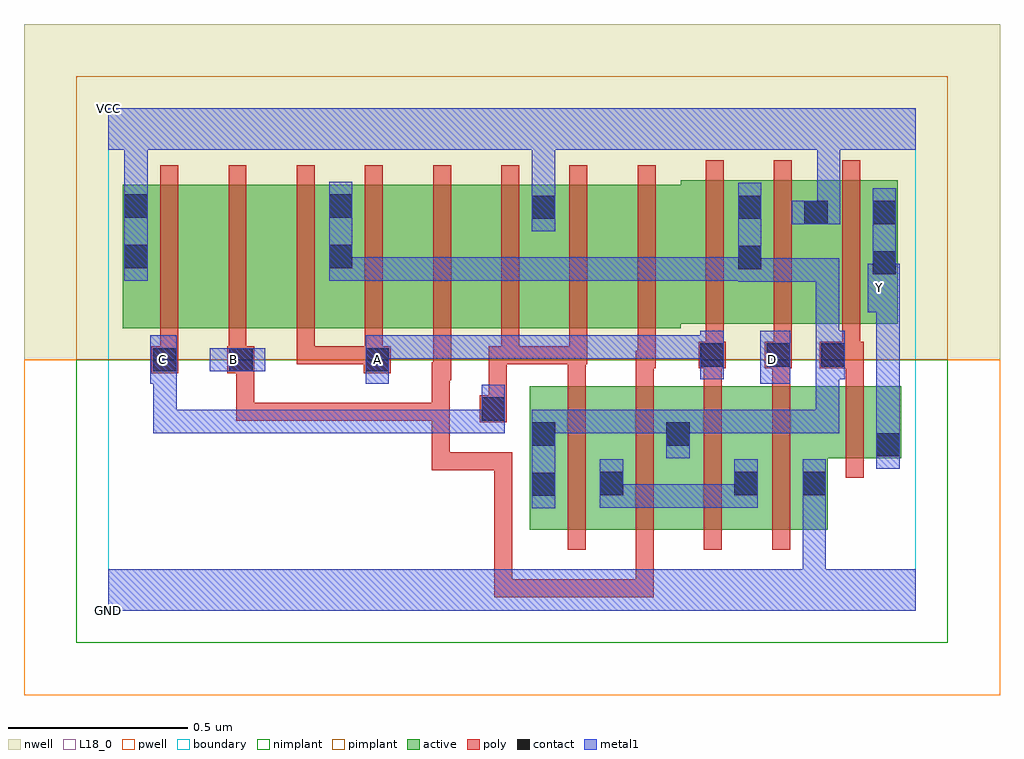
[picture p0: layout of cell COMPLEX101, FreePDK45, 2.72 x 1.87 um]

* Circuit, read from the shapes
.subckt COMPLEX101 A B C D GND VCC Y
M1 n1 C n2 VSUBS nfet w=0.4u l=0.05u
M2 n2 B n1 VSUBS nfet w=0.4u l=0.05u
M3 n1 A n2 VSUBS nfet w=0.4u l=0.05u
M4 GND D n1 VSUBS nfet w=0.4u l=0.05u
M5 Y n2 GND VSUBS nfet w=0.2u l=0.05u
M6 n3 C VCC n4 pfet w=0.4u l=0.05u
M7 n5 B n3 n4 pfet w=0.4u l=0.05u
M8 n2 A n5 n4 pfet w=0.4u l=0.05u
M9 n6 A n2 n4 pfet w=0.4u l=0.05u
M10 n7 B n6 n4 pfet w=0.4u l=0.05u
M11 VCC C n7 n4 pfet w=0.4u l=0.05u
M12 n8 C VCC n4 pfet w=0.4u l=0.05u
M13 n9 B n8 n4 pfet w=0.4u l=0.05u
M14 n2 A n9 n4 pfet w=0.4u l=0.05u
M15 VCC D n2 n4 pfet w=0.4u l=0.05u
M16 Y n2 VCC n4 pfet w=0.4u l=0.05u
.ends

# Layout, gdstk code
import gdstk
lib = gdstk.Library(unit=1e-6, precision=1e-09)
def R(c, l, rs):  # rectangles x0, y0, x1, y1
    for r in rs: c.add(gdstk.rectangle(r[:2], r[2:], *l))
def A(c, l, x, y, w, h, nx, ny, dx, dy):  # array of equal rectangles
    R(c, l, [(x+i*dx, y+j*dy, x+i*dx+w, y+j*dy+h) for i in range(nx) for j in range(ny)])
active = (1, 0)
pwell = (2, 0)
nwell = (3, 0)
nimplant = (4, 0)
pimplant = (5, 0)
poly = (9, 0)
contact = (10, 0)
metal1 = (11, 0)
L18_0 = (18, 0)
boundary = (235, 0)

complex101 = lib.new_cell('COMPLEX101')
A(complex101, active, 0.265, 0.787, 0.19, 0.4, 3, 1, 0.57, 0)
R(complex101, active, [(1.175,0.225,1.44,0.625), (1.365,0.225,1.625,0.625), (1.55,0.225,1.815,0.625), (1.74,0.225,2.005,0.625), (1.93,0.225,2.005,0.597), (1.175,0.245,1.25,0.625), (1.365,0.245,1.44,0.537), (1.55,0.245,1.625,0.625), (1.74,0.245,1.815,0.492), (1.93,0.425,2.21,0.625), (2.135,0.425,2.21,0.625), (0.04,0.787,0.115,1.187), (0.04,0.787,0.265,1.187), (0.455,0.787,0.685,1.187), (0.61,0.787,0.685,1.187), (0.61,0.787,0.835,1.187), (1.025,0.787,1.25,1.187), (1.175,0.787,1.25,1.187), (1.175,0.787,1.405,1.187), (1.595,0.8,1.825,1.2), (1.75,0.8,2.01,1.2), (1.75,0.8,1.825,1.2), (1.935,0.8,2.2,1.2), (2.125,0.8,2.2,1.165), (1.935,0.907,2.01,1.2)])
R(complex101, pwell, [(-0.235,-0.235,2.485,0.7)])
R(complex101, nwell, [(-0.235,0.7,2.485,1.635)])
R(complex101, nimplant, [(-0.09,-0.09,2.34,0.7)])
R(complex101, pimplant, [(-0.09,0.7,2.34,1.49)])
A(complex101, poly, 1.28, 0.17, 0.05, 0.51, 4, 1, 0.19, 0)
A(complex101, poly, 1.47, 0.63, 0.05, 0.095, 3, 1, 0.19, 0)
A(complex101, poly, 0.145, 0.687, 0.05, 0.095, 4, 1, 0.19, 0)
A(complex101, poly, 1.665, 0.7, 0.05, 0.095, 3, 1, 0.19, 0)
A(complex101, poly, 0.145, 0.732, 0.05, 0.51, 8, 1, 0.19, 0)
A(complex101, poly, 1.665, 0.745, 0.05, 0.51, 3, 1, 0.19, 0)
R(complex101, poly, [(1.075,0.037,1.125,0.087), (1.075,0.037,1.125,0.087), (1.075,0.037,1.125,0.087), (1.075,0.037,1.277,0.087), (1.075,0.037,1.125,0.442), (1.227,0.037,1.277,0.087), (1.227,0.037,1.277,0.087), (1.227,0.037,1.277,0.087), (1.227,0.037,1.52,0.087), (1.47,0.037,1.52,0.22), (1.47,0.037,1.52,0.087), (1.47,0.037,1.52,0.087), (1.47,0.037,1.52,0.087), (2.055,0.37,2.105,0.68), (0.902,0.392,0.952,0.442), (0.902,0.392,0.952,0.442), (0.902,0.392,1.125,0.442), (0.902,0.392,0.952,0.58), (1.075,0.392,1.125,0.442), (1.035,0.525,1.11,0.6), (0.357,0.53,0.407,0.58), (0.357,0.53,0.407,0.58), (0.357,0.53,0.407,0.58), (0.357,0.53,0.407,0.58), (0.357,0.53,0.407,0.58), (0.357,0.53,0.63,0.58), (0.357,0.53,0.407,0.712), (0.58,0.53,0.63,0.58), (0.58,0.53,0.63,0.58), (0.58,0.53,0.63,0.58), (0.58,0.53,0.82,0.58), (0.77,0.53,0.82,0.58), (0.77,0.53,0.952,0.58), (0.902,0.53,0.952,0.58), (0.902,0.53,0.952,0.58), (0.902,0.53,0.952,0.58), (0.902,0.53,0.952,0.58), (0.902,0.53,0.952,0.692), (1.06,0.55,1.11,0.737), (1.28,0.63,1.33,0.737), (2.055,0.63,2.105,0.725), (0.902,0.642,0.952,0.692), (0.902,0.642,0.952,0.692), (0.902,0.642,0.955,0.692), (0.905,0.642,0.955,0.782), (0.12,0.662,0.195,0.737), (0.332,0.662,0.407,0.737), (0.712,0.662,0.787,0.737), (1.47,0.675,1.525,0.725), (1.475,0.675,1.525,0.782), (1.645,0.675,1.72,0.75), (1.83,0.675,1.905,0.75), (1.982,0.675,2.105,0.75), (0.525,0.687,0.575,0.737), (0.525,0.687,0.575,0.737), (0.525,0.687,0.575,0.737), (0.525,0.687,0.762,0.737), (1.06,0.687,1.125,0.737), (1.075,0.687,1.125,0.737), (1.075,0.687,1.145,0.737), (1.095,0.687,1.145,0.782), (1.095,0.687,1.33,0.737), (1.28,0.687,1.335,0.737), (1.28,0.687,1.33,0.737), (1.28,0.687,1.33,0.737), (1.285,0.687,1.335,0.782)])
R(complex101, contact, [(1.18,0.32,1.245,0.385), (1.37,0.322,1.435,0.387), (1.745,0.322,1.81,0.387), (1.935,0.322,2,0.387), (2.14,0.43,2.205,0.495), (1.18,0.46,1.245,0.525), (1.555,0.46,1.62,0.525), (1.04,0.53,1.105,0.595), (0.125,0.667,0.19,0.732), (0.337,0.667,0.402,0.732), (0.717,0.667,0.782,0.732), (1.65,0.68,1.715,0.745), (1.835,0.68,1.9,0.745), (1.987,0.68,2.052,0.745), (2.13,0.937,2.195,1.002), (1.755,0.952,1.82,1.017), (0.045,0.955,0.11,1.02), (0.615,0.955,0.68,1.02), (1.94,1.077,2.005,1.142), (2.13,1.077,2.195,1.142), (1.18,1.092,1.245,1.157), (1.755,1.092,1.82,1.157), (0.045,1.095,0.11,1.16), (0.615,1.095,0.68,1.16)])
R(complex101, metal1, [(0,0,2.25,0.115), (1.935,0.05,2,0.115), (1.935,0.05,2,0.115), (1.935,0.05,2,0.352), (1.18,0.285,1.245,0.56), (1.37,0.287,1.435,0.352), (1.37,0.287,1.435,0.352), (1.37,0.287,1.435,0.422), (1.37,0.287,1.572,0.352), (1.507,0.287,1.572,0.352), (1.507,0.287,1.572,0.352), (1.507,0.287,1.572,0.352), (1.507,0.287,1.81,0.352), (1.745,0.287,1.81,0.422), (1.935,0.287,2,0.422), (2.14,0.395,2.205,0.53), (1.555,0.425,1.62,0.56), (2.14,0.465,2.205,0.897), (0.125,0.495,0.19,0.56), (0.125,0.495,0.327,0.56), (0.125,0.495,0.19,0.697), (0.262,0.495,0.327,0.56), (0.262,0.495,0.327,0.56), (0.262,0.495,0.327,0.56), (0.262,0.495,0.465,0.56), (0.4,0.495,0.465,0.56), (0.4,0.495,0.465,0.56), (0.4,0.495,0.465,0.56), (0.4,0.495,0.602,0.56), (0.537,0.495,0.602,0.56), (0.537,0.495,0.82,0.56), (0.755,0.495,0.82,0.56), (0.755,0.495,0.92,0.56), (0.855,0.495,0.92,0.56), (0.855,0.495,1.105,0.56), (1.04,0.495,1.105,0.56), (1.04,0.495,1.105,0.56), (1.04,0.495,1.105,0.56), (1.04,0.495,1.105,0.56), (1.04,0.495,1.105,0.63), (1.18,0.495,1.245,0.56), (1.18,0.495,1.245,0.56), (1.18,0.495,1.435,0.56), (1.37,0.495,1.435,0.56), (1.37,0.495,1.435,0.56), (1.37,0.495,1.435,0.56), (1.37,0.495,1.62,0.56), (1.555,0.495,1.62,0.56), (1.555,0.495,1.62,0.56), (1.555,0.495,1.832,0.56), (1.767,0.495,1.832,0.56), (1.767,0.495,1.832,0.56), (1.767,0.495,1.832,0.56), (1.767,0.495,2.037,0.56), (1.972,0.495,2.037,0.56), (1.972,0.495,2.037,0.71), (0.117,0.632,0.19,0.767), (0.125,0.632,0.19,0.697), (0.125,0.632,0.19,0.697), (0.717,0.632,0.782,0.767), (1.817,0.632,1.9,0.78), (1.65,0.645,1.715,0.78), (1.972,0.645,2.037,0.71), (1.972,0.645,2.052,0.71), (1.972,0.645,2.037,0.982), (1.987,0.645,2.052,0.78), (0.282,0.667,0.437,0.732), (0.717,0.702,0.967,0.767), (0.902,0.702,0.967,0.767), (0.902,0.702,0.967,0.767), (0.902,0.702,0.967,0.767), (0.902,0.702,1.107,0.767), (1.042,0.702,1.107,0.767), (1.042,0.702,1.107,0.767), (1.042,0.702,1.107,0.767), (1.042,0.702,1.245,0.767), (1.18,0.702,1.245,0.767), (1.18,0.702,1.245,0.767), (1.18,0.702,1.245,0.767), (1.18,0.702,1.435,0.767), (1.37,0.702,1.435,0.767), (1.37,0.702,1.435,0.767), (1.37,0.702,1.435,0.767), (1.37,0.702,1.572,0.767), (1.507,0.702,1.572,0.767), (1.507,0.702,1.715,0.767), (2.117,0.832,2.205,0.967), (2.13,0.902,2.195,0.967), (2.13,0.902,2.195,1.177), (1.755,0.917,1.82,0.982), (1.755,0.917,1.82,0.982), (1.755,0.917,1.82,1.192), (1.755,0.917,2.037,0.982), (1.972,0.917,2.037,0.982), (0.045,0.92,0.11,1.195), (0.615,0.92,0.68,0.985), (0.615,0.92,0.68,0.985), (0.615,0.92,0.68,1.195), (0.615,0.92,0.92,0.985), (0.855,0.92,0.92,0.985), (0.855,0.92,0.92,0.985), (0.855,0.92,0.92,0.985), (0.855,0.92,1.105,0.985), (1.04,0.92,1.105,0.985), (1.04,0.92,1.105,0.985), (1.04,0.92,1.105,0.985), (1.04,0.92,1.245,0.985), (1.18,0.92,1.245,0.985), (1.18,0.92,1.245,0.985), (1.18,0.92,1.245,0.985), (1.18,0.92,1.435,0.985), (1.37,0.92,1.435,0.985), (1.37,0.92,1.435,0.985), (1.37,0.92,1.435,0.985), (1.37,0.92,1.572,0.985), (1.507,0.92,1.572,0.985), (1.507,0.92,1.572,0.985), (1.507,0.92,1.572,0.985), (1.507,0.92,1.82,0.985), (1.18,1.057,1.245,1.192), (1.905,1.077,2.04,1.142), (1.975,1.077,2.04,1.35), (1.18,1.127,1.245,1.35), (0.045,1.13,0.11,1.35), (0,1.285,2.25,1.4)])
R(complex101, L18_0, [(0,0,2.25,0.115), (1.935,0.05,2,0.115), (1.935,0.05,2,0.115), (1.935,0.05,2,0.352), (1.935,0.287,2,0.422), (2.14,0.395,2.205,0.53), (2.14,0.465,2.205,0.897), (0.125,0.495,0.19,0.56), (0.125,0.495,0.19,0.697), (0.125,0.495,0.327,0.56), (0.262,0.495,0.327,0.56), (0.262,0.495,0.327,0.56), (0.262,0.495,0.327,0.56), (0.262,0.495,0.465,0.56), (0.4,0.495,0.465,0.56), (0.4,0.495,0.465,0.56), (0.4,0.495,0.465,0.56), (0.4,0.495,0.602,0.56), (0.537,0.495,0.602,0.56), (0.537,0.495,0.82,0.56), (0.755,0.495,0.82,0.56), (0.755,0.495,0.92,0.56), (0.855,0.495,0.92,0.56), (0.855,0.495,1.105,0.56), (1.04,0.495,1.105,0.56), (1.04,0.495,1.105,0.56), (1.04,0.495,1.105,0.56), (1.04,0.495,1.105,0.56), (1.04,0.495,1.105,0.63), (0.117,0.632,0.19,0.767), (0.125,0.632,0.19,0.697), (0.125,0.632,0.19,0.697), (0.717,0.632,0.782,0.767), (1.817,0.632,1.9,0.78), (1.65,0.645,1.715,0.78), (0.117,0.667,0.182,0.732), (0.282,0.667,0.437,0.732), (0.317,0.667,0.382,0.732), (0.717,0.667,0.782,0.732), (1.817,0.667,1.882,0.732), (0.717,0.702,0.967,0.767), (0.902,0.702,0.967,0.767), (0.902,0.702,0.967,0.767), (0.902,0.702,0.967,0.767), (0.902,0.702,1.107,0.767), (1.042,0.702,1.107,0.767), (1.042,0.702,1.107,0.767), (1.042,0.702,1.107,0.767), (1.042,0.702,1.245,0.767), (1.18,0.702,1.245,0.767), (1.18,0.702,1.245,0.767), (1.18,0.702,1.245,0.767), (1.18,0.702,1.435,0.767), (1.37,0.702,1.435,0.767), (1.37,0.702,1.435,0.767), (1.37,0.702,1.435,0.767), (1.37,0.702,1.572,0.767), (1.507,0.702,1.572,0.767), (1.507,0.702,1.715,0.767), (2.117,0.832,2.205,0.967), (2.117,0.867,2.182,0.932), (2.13,0.902,2.195,1.177), (2.13,0.902,2.195,0.967), (0.045,0.92,0.11,1.195), (1.18,1.057,1.245,1.192), (1.905,1.077,2.04,1.142), (1.975,1.077,2.04,1.35), (1.18,1.127,1.245,1.35), (0.045,1.13,0.11,1.35), (0,1.285,2.25,1.4)])
R(complex101, boundary, [(0,0,2.25,1.4)])
complex101.add(gdstk.Label('A', (0.75,0.7), layer=11, texttype=0))
complex101.add(gdstk.Label('B', (0.35,0.7), layer=11, texttype=0))
complex101.add(gdstk.Label('C', (0.15,0.7), layer=11, texttype=0))
complex101.add(gdstk.Label('D', (1.85,0.7), layer=11, texttype=0))
complex101.add(gdstk.Label('Y', (2.15,0.9), layer=11, texttype=0))
complex101.add(gdstk.Label('VCC', (0,1.4), layer=11, texttype=0))
complex101.add(gdstk.Label('GND', (0,0), layer=11, texttype=0))

lib.write_gds('COMPLEX101.gds')
